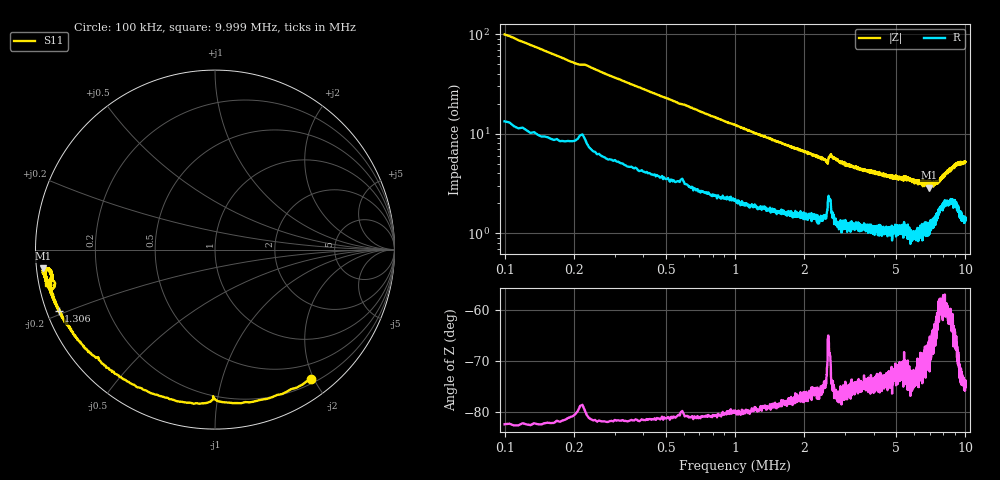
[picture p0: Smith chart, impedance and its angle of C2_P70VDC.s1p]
# HZ S RI R 50
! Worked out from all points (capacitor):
!   2020 points, 100 kHz to 9.999 MHz, reference 50 ohm
!   read as one part to ground: C = 14.9 nF near 149 kHz
!   lowest |Z| = 2.88 ohm at 6.979 MHz (marker M1)
!   S11 on the Smith chart (normalised r, x): 100 kHz: 0.27, -1.97; 1.306 MHz: 0.03, -0.19; 9.999 MHz: 0.03, -0.10
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100000  0.5373 -0.7187
129418  0.3722 -0.8053
158836  0.2177 -0.8465
188254  0.0776 -0.8525
232381  -0.0466 -0.8544
291217  -0.239 -0.8352
330441  -0.3325 -0.8077
374568  -0.417 -0.7703
472628  -0.558 -0.6916
595203  -0.6548 -0.6008
786420  -0.7663 -0.5012
1060988  -0.8349 -0.4045
1306138  -0.8706 -0.3424
1340459  -0.8676 -0.3372
1776826  -0.9056 -0.2675
2335768  -0.9215 -0.2105
2507373  -0.9186 -0.1811
2576015  -0.8963 -0.1999
2639754  -0.9134 -0.2096
2816262  -0.9349 -0.1968
3816474  -0.9464 -0.155
5052030  -0.9468 -0.1298
6287586  -0.9532 -0.1177
6978909  -0.9556 -0.1039
7528045  -0.9391 -0.107
8763601  -0.9103 -0.1509
9415700  -0.9265 -0.1743
9999157  -0.9292 -0.1885
